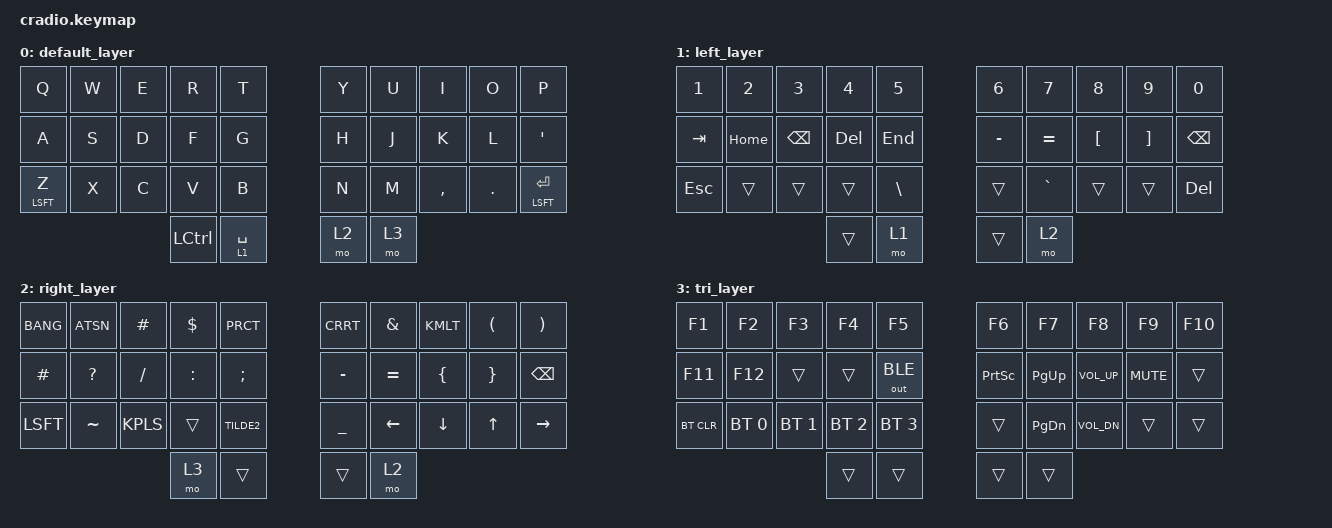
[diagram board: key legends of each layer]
#include <behaviors.dtsi>
#include <dt-bindings/zmk/keys.h>
#include <dt-bindings/zmk/bt.h>


&mt {
  //  flavor = "tap-preferred";
   // tapping_term_ms = <200>;
};

/ { 

    combos {
        compatible = "zmk,combos";
        combo_esc {
            timeout-ms = <50>;
            key-positions = <0 1>;
            bindings = <&kp ESC>;
        };
        
         combo_tab {
            timeout-ms = <50>;
            key-positions = <10 11>;
            bindings = <&kp TAB>;
        };
        
            combo_ralt {
            timeout-ms = <50>;
            key-positions = <17 16>;
            bindings = <&kp RALT>;
        };
        
                    combo_lalt {
            timeout-ms = <50>;
            key-positions = <11 12>;
            bindings = <&kp LALT>;
        };
        
                           combo_lgui {
            timeout-ms = <50>;
            key-positions = <12 13>;
            bindings = <&kp LGUI>;
        };
        
        
           combo_rgui {
            timeout-ms = <50>;
            key-positions = <17 18>;
            bindings = <&kp RGUI>;
        };
        

        
    };

        keymap {
                compatible = "zmk,keymap";
                
       		default_layer {
		bindings = <
		&kp Q &kp W &kp E &kp R &kp T 						&kp Y &kp U  &kp I    &kp O   &kp P 
		&kp A &kp S &kp D &kp F &kp G 			        	        &kp H &kp J &kp K &kp L &kp QUOT
		&mt LSFT Z &kp X &kp C &kp V &kp B				        &kp N &kp M  &kp CMMA &kp DOT &mt LSFT RET
          			&kp LCTL  &lt 1 SPC 				       &mo 2 &mo 3 
		>;
		};

       		left_layer {
		bindings = <
		&kp NUM_1  &kp NUM_2    &kp NUM_3    &kp NUM_4    &kp NUM_5		&kp NUM_6 &kp NUM_7 &kp NUM_8 &kp NUM_9 &kp NUM_0 
		&kp TAB    &kp HOME    &kp BKSP      &kp DEL     &kp END 		&kp MINUS &kp EQL   &kp LBKT &kp RBKT  &kp BKSP 
		&kp ESC    &trans &trans &trans   &kp BSLH 				&trans    &kp GRAVE &trans &trans  &kp DEL 
				 &trans  &mo 1 						&trans &mo 2 
		>;
		};
		
		right_layer {
		bindings = <
		&kp BANG  &kp ATSN &kp HASH  &kp DLLR  &kp PRCT    			&kp CRRT  &kp AMPS &kp KMLT &kp LPRN &kp RPRN 
		&kp HASH  &kp QMARK  &kp FSLH  &kp COLN  &kp SCLN 			&kp MINUS &kp EQUAL  &kp LBRC  &kp RBRC   &kp BKSP
		&kp LSFT  &kp TILDE 	&kp KPLS &trans  &kp TILDE2    			&kp UNDER &kp LEFT &kp DOWN &kp UP  &kp RIGHT
					  &mo 3 &trans  				&trans  &mo 2 
		>;
		};	
		
		tri_layer {
		bindings = <
		&kp F1  &kp F2    &kp F3    &kp F4    &kp F5 					&kp F6 &kp F7   &kp F8   &kp F9  &kp F10
		&kp F11 &kp F12 &trans &trans &out OUT_BLE  						&kp PSCRN &kp PG_UP  &kp C_VOL_UP &kp C_MUTE &trans 
		&bt BT_CLR  &bt BT_SEL 0 &bt BT_SEL 1 &bt BT_SEL 2 &bt BT_SEL 3			&trans &kp PG_DN  &kp C_VOL_DN  &trans &trans   
					 &trans &trans  					&trans &trans 
		>;
		};	
        
	};
};
